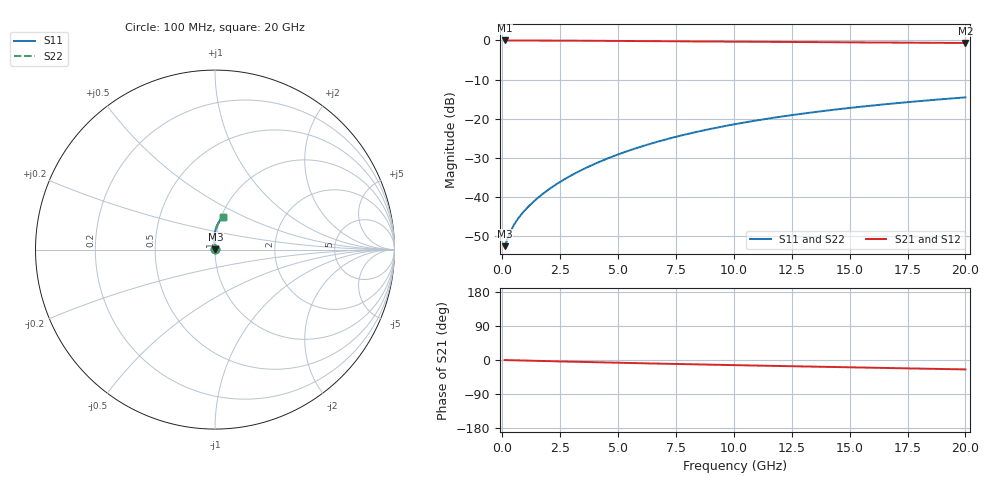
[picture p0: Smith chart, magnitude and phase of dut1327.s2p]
! Touchstone file exported from HFSS 2024.1.0
!  File:  C:/UserFiles/LocalFiles/RDL_TSV_Batchsim/temp_RDL_top_1327_1780365288.aedt
!  Generated:  09:56:56 AM Jun  2, 2026
!  Design:  RDL_top
!  Project:  temp_RDL_top_1327_1780365288
!  Setup:  Setup1
!  Solution:  Sweep
! Variables:
!  dtsv = 10.80580581um
!  hbump = 3um
!  htsv = 90.45um
!  ldown = 100um
!  lrdl = 371.74um
!  p = 40
!  p1 = 45.62um
!  rhole = 1um
!  t = 450um
!  tdown = 3.915915916um
!  trdl = 2.39um
!  wdown = 15.38538539um
!  wrdl = 29.8um
# GHz S MA R 50.000000
! Terminal data exported
! Port[1] = Box2_T1
! Port[2] = Box2_T2
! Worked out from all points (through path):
!   200 points, 100 MHz to 20 GHz, reference 50 ohm
!   highest |S21| = -0.02 dB at 100 MHz (marker M1); lowest = -0.7 dB at 20 GHz (marker M2)
!   group delay of S21, straight-line fit = 3.4 ps
!   lowest |S11| = -52.5 dB at 100 MHz (marker M3), VSWR 1.00, Z = 50.2 + j0.0807 ohm
!   |S11| at or under -10 dB: start of sweep to end of sweep
!   |S22| runs from -52.5 to -14.5 dB; largest |S21 - S12| = 3.7e-15
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0.1  0.002378 19.8  0.9978 -0.2  0.9978 -0.2  0.002378 19.8
! Gamma 0 0 0 0
! Port Impedance 50 0 50 0
0.3  0.003346 42.6  0.9974 -0.5  0.9974 -0.5  0.003346 42.6
0.4  0.00389 48.4  0.9973 -0.6  0.9973 -0.6  0.00389 48.4
0.5  0.004419 52.7  0.9971 -0.8  0.9971 -0.8  0.004419 52.7
0.6  0.004931 56.2  0.9969 -0.9  0.9969 -0.9  0.004931 56.2
0.8  0.005935 61.9  0.9966 -1.2  0.9966 -1.2  0.005935 61.9
1.2  0.007987 70.5  0.9959 -1.8  0.9959 -1.8  0.007987 70.5
1.7  0.01076 77.9  0.995 -2.6  0.995 -2.6  0.01076 77.9
2.2  0.01379 83.1  0.9939 -3.3  0.9939 -3.3  0.01379 83.1
2.8  0.01774 87.5  0.9923 -4.2  0.9923 -4.2  0.01775 87.5
3.5  0.0228 91.0  0.99 -5.2  0.99 -5.2  0.02281 91.0
4.2  0.02832 93.1  0.9875 -6.2  0.9875 -6.2  0.02832 93.2
5  0.03512 94.6  0.9843 -7.2  0.9843 -7.2  0.03513 94.6
5.9  0.04332 95.2  0.9805 -8.4  0.9805 -8.4  0.04333 95.2
6.8  0.05198 95.2  0.9766 -9.6  0.9766 -9.6  0.05199 95.2
8.4  0.06817 94.0  0.9697 -11.6  0.9697 -11.6  0.06819 94.0
10.1  0.08599 91.9  0.9626 -13.7  0.9626 -13.7  0.08601 91.9
11.7  0.103 89.6  0.9562 -15.5  0.9562 -15.5  0.103 89.6
13.4  0.1209 87.0  0.9497 -17.5  0.9497 -17.5  0.121 87.0
15  0.1376 84.5  0.9438 -19.3  0.9438 -19.3  0.1376 84.5
16.7  0.155 81.9  0.9378 -21.2  0.9378 -21.2  0.1551 81.9
20  0.1876 77.0  0.9266 -24.8  0.9266 -24.8  0.1877 77.0
